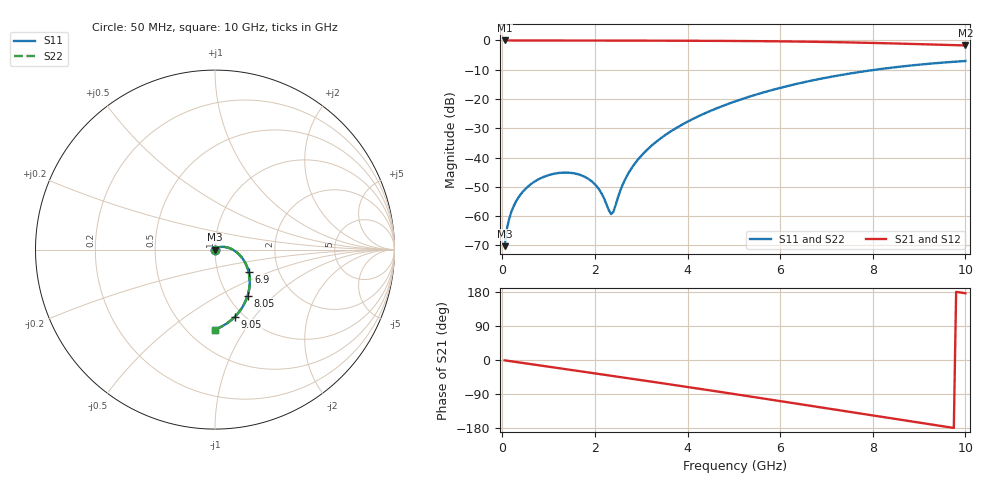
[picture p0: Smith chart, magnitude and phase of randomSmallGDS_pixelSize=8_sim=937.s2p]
! freq	dB(S11)	phase(S11)	dB(S12)	phase(S12)
!  dB(S21)	phase(S21)	dB(S22)	phase(S22)
!S-par simulation data
#  GHz  S  DB  R 50
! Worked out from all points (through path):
!   200 points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, 50 MHz to 10 GHz, reference 50 ohm
!   highest |S21| = 0.00 dB at 50 MHz (marker M1); lowest = -1.7 dB at 10 GHz (marker M2)
!   group delay of S21, straight-line fit = 51.4 ps
!   lowest |S11| = -70.2 dB at 50 MHz (marker M3), VSWR 1.00, Z = 50 - j0.0306 ohm
!   |S11| at or under -10 dB: start of sweep to 8.054 GHz
!   |S22| runs from -70.2 to -7.0 dB; largest |S21 - S12| = 0
!   S11 on the Smith chart (normalised r, x): 50 MHz: 1.00, -0.00; 6.9 GHz: 1.40, -0.36; 8.05 GHz: 1.22, -0.70; 9.05 GHz: 0.91, -0.80; 10 GHz: 0.67, -0.74
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0.05  -70.24 -84.6  -0.00 -0.9  -0.00 -0.9  -70.24 -84.6
0.1  -64.27 -88.7  -0.00 -1.8  -0.00 -1.8  -64.27 -88.7
0.2  -58.31 -92.2  -0.00 -3.6  -0.00 -3.6  -58.31 -92.2
0.35  -53.58 -95.8  -0.01 -6.2  -0.01 -6.2  -53.58 -95.8
0.55  -49.95 -100.0  -0.01 -9.8  -0.01 -9.8  -49.95 -100.0
1.15  -45.41 -112.7  -0.03 -20.3  -0.03 -20.3  -45.41 -112.6
1.75  -46.34 -128.0  -0.04 -30.9  -0.04 -30.9  -46.34 -127.7
2.1  -51.10 -145.2  -0.04 -37.1  -0.04 -37.1  -51.13 -144.4
2.35  -59.28 147.1  -0.05 -41.5  -0.05 -41.5  -59.65 147.6
2.4  -58.48 116.0  -0.05 -42.4  -0.05 -42.4  -58.83 115.3
2.55  -51.21 71.2  -0.05 -45.1  -0.05 -45.1  -51.29 70.2
2.75  -44.64 55.0  -0.06 -48.7  -0.06 -48.7  -44.67 54.4
3.05  -38.54 43.9  -0.06 -54.0  -0.06 -54.0  -38.55 43.5
3.4  -33.67 35.0  -0.07 -60.3  -0.07 -60.3  -33.67 34.8
4.1  -26.92 20.3  -0.10 -73.0  -0.10 -73.0  -26.93 20.2
5.05  -20.68 1.9  -0.17 -90.6  -0.17 -90.6  -20.68 1.8
6.7  -13.64 -29.6  -0.45 -121.8  -0.45 -121.8  -13.64 -29.6
6.9  -13.00 -33.4  -0.50 -125.6  -0.50 -125.6  -13.00 -33.5
8.05  -10.01 -55.0  -0.86 -147.6  -0.86 -147.6  -10.01 -55.1
8.35  -9.39 -60.6  -0.98 -153.3  -0.98 -153.3  -9.40 -60.7
9.05  -8.19 -73.4  -1.27 -166.4  -1.27 -166.4  -8.19 -73.4
10  -7.02 -90.2  -1.71 176.2  -1.71 176.2  -7.02 -90.2
